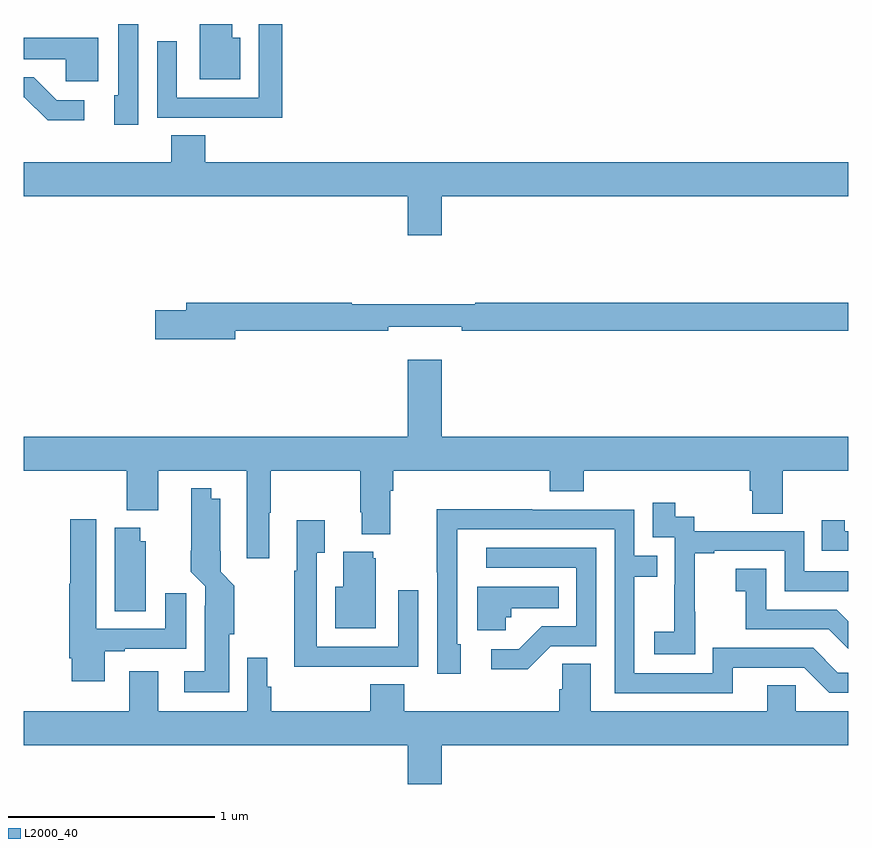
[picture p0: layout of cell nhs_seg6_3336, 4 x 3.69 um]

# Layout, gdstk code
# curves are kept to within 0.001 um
import gdstk
lib = gdstk.Library(unit=1e-6, precision=1e-09)
def P(c, l, *ps):  # polygons
    for p in ps: c.add(gdstk.Polygon(p, *l))
L2000_40 = (2000, 40)

nhs_seg6_3336 = lib.new_cell('nhs_seg6_3336')
P(nhs_seg6_3336, L2000_40, [(308.255,953.5),(308.139,953.5),(308.139,953.142),(307.743,953.142),(307.743,953.416),(307.647,953.416),(307.647,953.046),(307.963,953.046),(307.963,953.045),(308.255,953.045)],
  [(308.05,953.434),(308.011,953.434),(308.011,953.5),(307.853,953.5),(307.853,953.231),(308.05,953.231)],
  [(307.554,953.5),(307.457,953.5),(307.457,953.458),(307.458,953.458),(307.458,953.154),(307.439,953.154),(307.439,953.01),(307.554,953.01)],
  [(307.36,953.434),(307,953.434),(307,953.33),(307.203,953.33),(307.203,953.222),(307.36,953.222)],
  [(307.294,953.13),(307.159,953.13),(307.048,953.241),(307,953.241),(307,953.145),(307.002,953.145),(307.115,953.033),(307.294,953.033)],
  [(309.028,952.664),(311,952.664),(311,952.828),(307.88,952.828),(307.88,952.961),(307.715,952.961),(307.715,952.828),(307,952.828),(307,952.664),(308.864,952.664),(308.864,952.476),(309.028,952.476)],
  [(308.026,952.012),(308.768,952.012),(308.768,952.031),(309.124,952.031),(309.124,952.012),(311,952.012),(311,952.148),(309.191,952.148),(309.191,952.141),(308.591,952.141),(308.591,952.148),(307.787,952.148),(307.787,952.112),(307.638,952.112),(307.638,951.97),(308.026,951.97)],
  [(308.191,951.128),(308.199,951.128),(308.199,951.332),(308.632,951.332),(308.632,951.13),(308.639,951.13),(308.639,951.023),(308.779,951.023),(308.779,951.236),(308.792,951.236),(308.792,951.332),(309.551,951.332),(309.551,951.233),(309.716,951.233),(309.716,951.332),(310.523,951.332),(310.523,951.234),(310.535,951.234),(310.535,951.124),(310.683,951.124),(310.683,951.332),(311,951.332),(311,951.496),(309.028,951.496),(309.028,951.871),(308.864,951.871),(308.864,951.496),(307,951.496),(307,951.332),(307.499,951.332),(307.499,951.14),(307.651,951.14),(307.651,951.332),(308.081,951.332),(308.081,950.907),(308.191,950.907)],
  [(307.996,950.538),(308.022,950.538),(308.022,950.775),(307.955,950.842),(307.954,951.196),(307.909,951.196),(307.909,951.247),(307.812,951.247),(307.811,950.842),(307.881,950.772),(307.881,950.678),(307.877,950.678),(307.877,950.359),(307.779,950.359),(307.779,950.258),(307.996,950.258)],
  [(310.257,950.647),(310.256,950.647),(310.256,950.931),(310.351,950.931),(310.351,950.943),(310.692,950.943),(310.692,950.748),(311,950.748),(311,950.844),(310.788,950.844),(310.788,951.039),(310.254,951.039),(310.254,951.108),(310.162,951.108),(310.162,951.178),(310.053,951.178),(310.053,951.009),(310.158,951.009),(310.158,950.78),(310.157,950.78),(310.157,950.551),(310.059,950.551),(310.059,950.441),(310.257,950.441)],
  [(310.441,950.376),(310.788,950.376),(310.908,950.256),(311,950.256),(311,950.352),(310.95,950.352),(310.83,950.472),(310.344,950.472),(310.344,950.349),(309.963,950.349),(309.963,950.818),(310.073,950.818),(310.073,950.919),(309.963,950.919),(309.963,951.144),(309.467,951.144),(309.467,951.146),(309.004,951.146),(309.004,950.839),(309.006,950.839),(309.006,950.346),(309.121,950.346),(309.121,950.49),(309.102,950.49),(309.103,951.048),(309.867,951.048),(309.867,950.253),(310.441,950.253)],
  [(307.393,950.457),(307.489,950.457),(307.489,950.469),(307.789,950.469),(307.789,950.737),(307.685,950.737),(307.685,950.565),(307.351,950.565),(307.351,951.097),(307.225,951.097),(307.225,950.784),(307.22,950.784),(307.22,950.422),(307.232,950.422),(307.232,950.31),(307.393,950.31)],
  [(311,951.039),(310.984,951.039),(310.984,951.091),(310.873,951.091),(310.873,950.943),(311,950.943)],
  [(308.597,950.382),(308.913,950.382),(308.913,950.752),(308.817,950.752),(308.817,950.478),(308.421,950.478),(308.421,950.935),(308.461,950.935),(308.461,951.091),(308.324,951.091),(308.324,950.846),(308.313,950.846),(308.313,950.381),(308.597,950.381)],
  [(307.591,950.991),(307.564,950.991),(307.564,951.055),(307.442,951.055),(307.442,950.65),(307.591,950.65)],
  [(309.558,950.481),(309.777,950.481),(309.777,950.958),(309.243,950.958),(309.243,950.862),(309.681,950.862),(309.681,950.577),(309.512,950.577),(309.401,950.466),(309.267,950.466),(309.267,950.369),(309.445,950.369)],
  [(308.707,950.907),(308.696,950.907),(308.696,950.938),(308.549,950.938),(308.549,950.77),(308.51,950.77),(308.51,950.567),(308.707,950.567)],
  [(311,950.602),(310.944,950.658),(310.602,950.658),(310.602,950.857),(310.455,950.857),(310.455,950.747),(310.504,950.747),(310.504,950.562),(310.907,950.562),(311,950.469)],
  [(309.339,950.622),(309.366,950.622),(309.366,950.666),(309.596,950.666),(309.596,950.77),(309.2,950.77),(309.2,950.558),(309.339,950.558)],
  [(309.028,950),(311,950),(311,950.164),(310.746,950.164),(310.746,950.291),(310.607,950.291),(310.607,950.164),(309.751,950.164),(309.751,950.396),(309.612,950.396),(309.612,950.273),(309.599,950.273),(309.599,950.164),(308.846,950.164),(308.846,950.297),(308.681,950.297),(308.681,950.164),(308.201,950.164),(308.201,950.285),(308.182,950.285),(308.182,950.425),(308.085,950.425),(308.085,950.164),(307.651,950.164),(307.651,950.359),(307.511,950.359),(307.511,950.164),(307,950.164),(307,950),(308.864,950),(308.864,949.812),(309.028,949.812)])

lib.write_gds('nhs_seg6_3336.gds')
